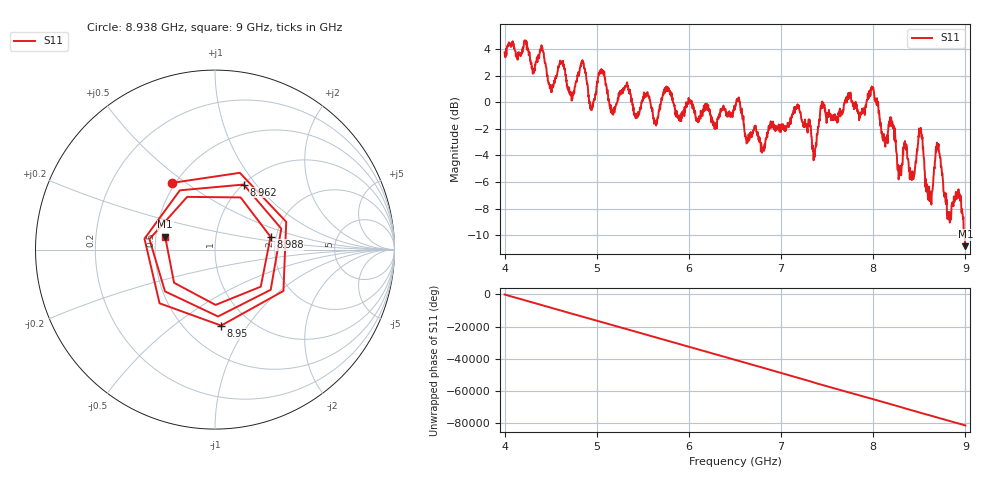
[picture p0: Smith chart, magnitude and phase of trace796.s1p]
! Created with skrf 1.8.0 (http://scikit-rf.org).
# Hz S RI R 50.0
!freq ReS11 ImS11
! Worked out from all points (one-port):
!   1601 points, 4 GHz to 9 GHz, reference 50 ohm
!   lowest |S11| = -10.8 dB at 9 GHz (marker M1), VSWR 1.81, Z = 28 + j4.43 ohm
!   |S11| at or under -10 dB: 8.992774 GHz to end of sweep
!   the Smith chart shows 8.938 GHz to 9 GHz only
!   S11 on the Smith chart (normalised r, x): 8.938 GHz: 0.48, +0.44; 8.95 GHz: 0.74, -0.76; 8.962 GHz: 1.01, +0.87; 8.988 GHz: 1.87, +0.30; 9 GHz: 0.56, +0.09
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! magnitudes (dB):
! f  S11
! 4 GHz  3.8
! 4.625 GHz  3.0
! 4.731 GHz  0.4
! 4.85 GHz  3.1
! 4.941 GHz  -0.6
! 5.047 GHz  2.3
! 5.162 GHz  -0.8
! 5.25 GHz  0.8
! 5.875 GHz  -1.1
! 6.5 GHz  -0.3
! 6.803 GHz  -3.6
! 7.125 GHz  -0.9
! 7.359 GHz  -3.8
! 7.447 GHz  0.1
! 7.75 GHz  0.4
! 7.991 GHz  1.0
! 8.284 GHz  -5.5
! 8.375 GHz  -4.2
! 8.428 GHz  -5.3
! 8.509 GHz  -2.3
! 8.609 GHz  -7.4
! 8.7 GHz  -3.4
! 8.819 GHz  -8.5
! 8.938 GHz  -7.1
! 8.95 GHz  -7.4
! 8.962 GHz  -8.0
! 8.988 GHz  -10.0
! 9 GHz  -10.8
